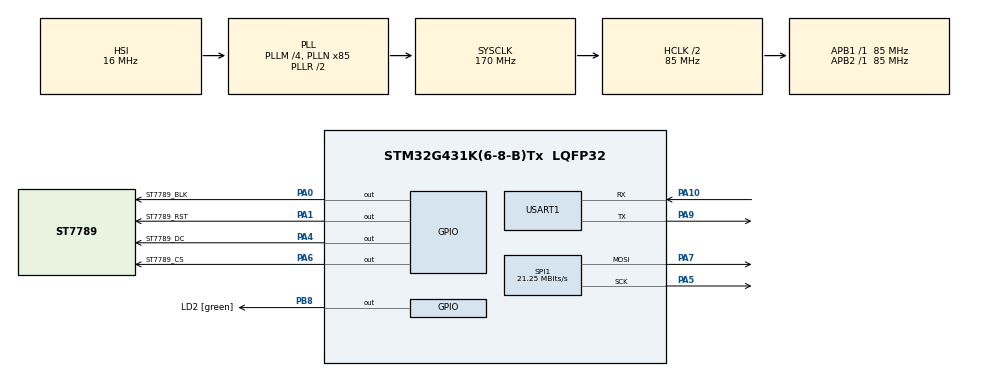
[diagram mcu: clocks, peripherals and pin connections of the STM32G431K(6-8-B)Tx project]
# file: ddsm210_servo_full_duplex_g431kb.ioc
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CRC.CRCLength=CRC_POLYLENGTH_8B
CRC.DefaultInitValueUse=DEFAULT_INIT_VALUE_DISABLE
CRC.DefaultPolynomialUse=DEFAULT_POLYNOMIAL_DISABLE
CRC.GeneratingPolynomial=X5+X4+X0
CRC.InputDataInversionMode=CRC_INPUTDATA_INVERSION_BYTE
CRC.OutputDataInversionMode=CRC_OUTPUTDATA_INVERSION_ENABLE
Dma.Request0=USART1_RX
Dma.Request1=USART1_TX
Dma.USART1_RX.0.Direction=DMA_PERIPH_TO_MEMORY
Dma.USART1_RX.0.EventEnable=DISABLE
Dma.USART1_RX.0.Instance=DMA1_Channel1
Dma.USART1_RX.0.MemDataAlignment=DMA_MDATAALIGN_BYTE
Dma.USART1_RX.0.MemInc=DMA_MINC_ENABLE
Dma.USART1_RX.0.Mode=DMA_NORMAL
Dma.USART1_RX.0.PeriphDataAlignment=DMA_PDATAALIGN_BYTE
Dma.USART1_RX.0.PeriphInc=DMA_PINC_DISABLE
Dma.USART1_RX.0.Polarity=HAL_DMAMUX_REQ_GEN_RISING
Dma.USART1_RX.0.Priority=DMA_PRIORITY_LOW
Dma.USART1_RX.0.RequestNumber=1
Dma.USART1_RX.0.SignalID=NONE
Dma.USART1_RX.0.SyncEnable=DISABLE
Dma.USART1_RX.0.SyncPolarity=HAL_DMAMUX_SYNC_NO_EVENT
Dma.USART1_RX.0.SyncRequestNumber=1
Dma.USART1_RX.0.SyncSignalID=NONE
Dma.USART1_TX.1.Direction=DMA_MEMORY_TO_PERIPH
Dma.USART1_TX.1.EventEnable=DISABLE
Dma.USART1_TX.1.Instance=DMA1_Channel2
Dma.USART1_TX.1.MemDataAlignment=DMA_MDATAALIGN_BYTE
Dma.USART1_TX.1.MemInc=DMA_MINC_ENABLE
Dma.USART1_TX.1.Mode=DMA_NORMAL
Dma.USART1_TX.1.PeriphDataAlignment=DMA_PDATAALIGN_BYTE
Dma.USART1_TX.1.PeriphInc=DMA_PINC_DISABLE
Dma.USART1_TX.1.Polarity=HAL_DMAMUX_REQ_GEN_RISING
Dma.USART1_TX.1.Priority=DMA_PRIORITY_LOW
Dma.USART1_TX.1.RequestNumber=1
Dma.USART1_TX.1.SignalID=NONE
Dma.USART1_TX.1.SyncEnable=DISABLE
Dma.USART1_TX.1.SyncPolarity=HAL_DMAMUX_SYNC_NO_EVENT
Dma.USART1_TX.1.SyncRequestNumber=1
Dma.USART1_TX.1.SyncSignalID=NONE
Mcu.Family=STM32G4
Mcu.Name=STM32G431K(6-8-B)Tx
Mcu.Package=LQFP32
NUCLEO-G431KB.Bsp_Common_DEMO=true
NUCLEO-G431KB.VCP=true
NVIC.DMA1_Channel1_IRQn=true\:0\:0\:false\:false\:true\:false\:true\:true
NVIC.DMA1_Channel2_IRQn=true\:0\:0\:false\:false\:true\:false\:true\:true
NVIC.PriorityGroup=NVIC_PRIORITYGROUP_4
NVIC.USART1_IRQn=true\:0\:0\:false\:false\:true\:true\:true\:true
PA0.GPIO_Label=ST7789_BLK
PA0.Signal=GPIO_Output
PA1.GPIO_Label=ST7789_RST
PA1.Signal=GPIO_Output
PA10.Mode=Asynchronous
PA10.Signal=USART1_RX
PA13.GPIO_Label=T_SWDIO
PA13.Signal=SYS_JTMS-SWDIO
PA14.GPIO_Label=T_SWCLK
PA14.Signal=SYS_JTCK-SWCLK
PA2.Signal=USART2_TX
PA3.Signal=USART2_RX
PA4.GPIO_Label=ST7789_DC
PA4.Signal=GPIO_Output
PA5.Mode=TX_Only_Simplex_Unidirect_Master
PA5.Signal=SPI1_SCK
PA6.GPIO_Label=ST7789_CS
PA6.Signal=GPIO_Output
PA7.Mode=TX_Only_Simplex_Unidirect_Master
PA7.Signal=SPI1_MOSI
PA9.Mode=Asynchronous
PA9.Signal=USART1_TX
PB3.GPIO_Label=T_SWO
PB3.Signal=SYS_JTDO-SWO
PB8-BOOT0.GPIO_Label=LD2 [green]
PB8-BOOT0.Signal=GPIO_Output
ProjectManager.HeapSize=0x200
ProjectManager.StackSize=0x400
ProjectManager.TargetToolchain=STM32CubeIDE
RCC.ADC12Freq_Value=170000000
RCC.AHBCLKDivider=RCC_SYSCLK_DIV2
RCC.AHBFreq_Value=85000000
RCC.APB1Freq_Value=85000000
RCC.APB1TimFreq_Value=85000000
RCC.APB2Freq_Value=85000000
RCC.APB2TimFreq_Value=85000000
RCC.CortexFreq_Value=85000000
RCC.EXTERNAL_CLOCK_VALUE=12288000
RCC.HCLKFreq_Value=85000000
RCC.HSE_VALUE=8000000
RCC.HSI48_VALUE=48000000
RCC.HSI_VALUE=16000000
RCC.LSE_VALUE=32768
RCC.PLLM=RCC_PLLM_DIV4
RCC.PLLN=85
RCC.SYSCLKFreq_VALUE=170000000
RCC.SYSCLKSource=RCC_SYSCLKSOURCE_PLLCLK
RCC.USBFreq_Value=170000000
RCC.VCOOutputFreq_Value=340000000
SPI1.BaudRatePrescaler=SPI_BAUDRATEPRESCALER_4
SPI1.CLKPhase=SPI_PHASE_2EDGE
SPI1.CLKPolarity=SPI_POLARITY_HIGH
SPI1.CalculateBaudRate=21.25 MBits/s
SPI1.DataSize=SPI_DATASIZE_8BIT
SPI1.Direction=SPI_DIRECTION_2LINES
SPI1.Mode=SPI_MODE_MASTER
SPI1.VirtualType=VM_MASTER
USART1.VirtualMode-Asynchronous=VM_ASYNC
VP_CRC_VS_CRC.Mode=CRC_Activate
VP_NUCLEO-G431KB_VS_BSP_COMMON.Mode=COMMON
VP_SYS_VS_DBSignals.Mode=DisableDeadBatterySignals
board=NUCLEO-G431KB

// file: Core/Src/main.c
/* USER CODE BEGIN Header */
/**
 ******************************************************************************
 * @file           : main.c
 * @brief          : Main program body
 ******************************************************************************
 * @attention
 *
 * Copyright (c) 2024 STMicroelectronics.
 * All rights reserved.
 *
 * This software is licensed under terms that can be found in the LICENSE file
 * in the root directory of this software component.
 * If no LICENSE file comes with this software, it is provided AS-IS.
 *
 ******************************************************************************
 */

//#define USE_LCD

/* USER CODE END Header */
#include "main.h"
#include "crc.h"
#include "dma.h"
#include "spi.h"
#include "usart.h"
#include "gpio.h"

/* USER CODE BEGIN Includes */
#include "ddsm210_servo.h"

#ifdef USE_LCD
#include "st7789.h"
#endif
/* USER CODE END Includes */

/* USER CODE BEGIN PD */
#define DRIVE_1 1
#define NUMBER_OF_DIFFERENT_MSGS 2
#define VELOCITY_REF -15.0f
#define ACCELERATION_TIME 10
/* USER CODE END PD */

COM_InitTypeDef BspCOMInit;

/* USER CODE BEGIN PV */
uint8_t rx_data[10];
uint8_t ddsm_data_received_flag = 0;
char lcd_line[32];
DDSM_ResponseTypeDef ddsm_response;
uint8_t msg_count = 0;
/* USER CODE END PV */

void SystemClock_Config(void);

int main(void)
{

  /* MCU Configuration--------------------------------------------------------*/

  /* Reset of all peripherals, Initializes the Flash interface and the Systick. */
  HAL_Init();

  /* Configure the system clock */
  SystemClock_Config();

  /* Initialize all configured peripherals */
  MX_GPIO_Init();
  MX_DMA_Init();
  MX_SPI1_Init();
  MX_USART1_UART_Init();
  MX_CRC_Init();
  /* USER CODE BEGIN 2 */

#ifdef USE_LCD
	ST7789_Init();
	ST7789_BLK_On();
	ST7789_Fill_Color(WHITE);
	ST7789_DrawImage(4 + 40, 99, 232, 42,
			(uint16_t*) image_data_ufnalski_edu_pl_gta);
	ST7789_WriteString(55, 15, "DDSM210 Direct Drive", Font_11x18, BLUE, WHITE);
	ST7789_WriteString(15, 40, "Servo Motor from Waveshare", Font_11x18, BLUE,
	WHITE);
	ST7789_WriteString(120, 75, "demo by", Font_11x18, BLUE, WHITE);
#endif

  /* USER CODE END 2 */

  /* Initialize COM1 port (115200, 8 bits (7-bit data + 1 stop bit), no parity */
  BspCOMInit.BaudRate   = 115200;
  BspCOMInit.WordLength = COM_WORDLENGTH_8B;
  BspCOMInit.StopBits   = COM_STOPBITS_1;
  BspCOMInit.Parity     = COM_PARITY_NONE;
  BspCOMInit.HwFlowCtl  = COM_HWCONTROL_NONE;
  if (BSP_COM_Init(COM1, &BspCOMInit) != BSP_ERROR_NONE)
  {
    Error_Handler();
  }

  /* USER CODE BEGIN BSP */

	/* -- Sample board code to send message over COM1 port ---- */
	printf("Welcome to direct drive world!\r\n\r\n");

  /* USER CODE END BSP */

  /* Infinite loop */
  /* USER CODE BEGIN WHILE */

	DDSM_SetVelocity(DRIVE_1, VELOCITY_REF, ACCELERATION_TIME, DDSM_BRAKE_OFF);
	HAL_UART_Receive_DMA(&huart1, rx_data, DDSM_MSG_LENGTH);
	while (1)
	{

		if (ddsm_data_received_flag == 1)
		{
			ddsm_data_received_flag = 0;
			DDSM_MessageDecode(DRIVE_1, rx_data, &ddsm_response);

#ifdef USE_LCD
			sprintf(lcd_line, "Velocity:    %.1f rpm    ",
					ddsm_response.velocity);
			ST7789_WriteString(15, 155, lcd_line, Font_11x18, BLUE,
			WHITE);
#else
			printf("Velocity:    %.1f rpm\r\n", ddsm_response.velocity);
#endif
#ifdef USE_LCD
			sprintf(lcd_line, "Position:    %.0f deg    ",
					ddsm_response.position);
			ST7789_WriteString(15, 175, lcd_line, Font_11x18, BLUE,
			WHITE);
#else
			printf("Position:    %.0f deg\r\n", ddsm_response.position);
#endif
#ifdef USE_LCD
			sprintf(lcd_line, "Mileage:     %li laps    ",
					ddsm_response.mileage);
			ST7789_WriteString(15, 195, lcd_line, Font_11x18, BLUE,
			WHITE);
#else
			printf("Mileage:     %li laps\r\n", ddsm_response.mileage);
#endif
#ifdef USE_LCD
			sprintf(lcd_line, "Temperature: %d deg. C    ",
					ddsm_response.temperature);
			ST7789_WriteString(15, 215, lcd_line, Font_11x18, BLUE,
			WHITE);
#else
			printf("Temperature: %d deg. C\r\n\r\n", ddsm_response.temperature);
			HAL_Delay(200);
#endif

			msg_count = (msg_count + 1) % NUMBER_OF_DIFFERENT_MSGS;
			switch (msg_count)
			{
			case 0:
				DDSM_SetVelocity(DRIVE_1, VELOCITY_REF, ACCELERATION_TIME,
						DDSM_BRAKE_OFF);
				break;
			case 1:
				DDSM_AskForMileage(DRIVE_1);
				break;
			default:
				__NOP();
			}
			HAL_UART_Receive_DMA(&huart1, rx_data, DDSM_MSG_LENGTH);
		}

    /* USER CODE END WHILE */

	}
}

void SystemClock_Config(void)
{
  RCC_OscInitTypeDef RCC_OscInitStruct = {0};
  RCC_ClkInitTypeDef RCC_ClkInitStruct = {0};

  /** Configure the main internal regulator output voltage
  */
  HAL_PWREx_ControlVoltageScaling(PWR_REGULATOR_VOLTAGE_SCALE1);

  /** Initializes the RCC Oscillators according to the specified parameters
  * in the RCC_OscInitTypeDef structure.
  */
  RCC_OscInitStruct.OscillatorType = RCC_OSCILLATORTYPE_HSI;
  RCC_OscInitStruct.HSIState = RCC_HSI_ON;
  RCC_OscInitStruct.HSICalibrationValue = RCC_HSICALIBRATION_DEFAULT;
  RCC_OscInitStruct.PLL.PLLState = RCC_PLL_ON;
  RCC_OscInitStruct.PLL.PLLSource = RCC_PLLSOURCE_HSI;
  RCC_OscInitStruct.PLL.PLLM = RCC_PLLM_DIV4;
  RCC_OscInitStruct.PLL.PLLN = 85;
  RCC_OscInitStruct.PLL.PLLP = RCC_PLLP_DIV2;
  RCC_OscInitStruct.PLL.PLLQ = RCC_PLLQ_DIV2;
  RCC_OscInitStruct.PLL.PLLR = RCC_PLLR_DIV2;
  if (HAL_RCC_OscConfig(&RCC_OscInitStruct) != HAL_OK)
  {
    Error_Handler();
  }

  /** Initializes the CPU, AHB and APB buses clocks
  */
  RCC_ClkInitStruct.ClockType = RCC_CLOCKTYPE_HCLK|RCC_CLOCKTYPE_SYSCLK
                              |RCC_CLOCKTYPE_PCLK1|RCC_CLOCKTYPE_PCLK2;
  RCC_ClkInitStruct.SYSCLKSource = RCC_SYSCLKSOURCE_PLLCLK;
  RCC_ClkInitStruct.AHBCLKDivider = RCC_SYSCLK_DIV2;
  RCC_ClkInitStruct.APB1CLKDivider = RCC_HCLK_DIV1;
  RCC_ClkInitStruct.APB2CLKDivider = RCC_HCLK_DIV1;

  if (HAL_RCC_ClockConfig(&RCC_ClkInitStruct, FLASH_LATENCY_2) != HAL_OK)
  {
    Error_Handler();
  }
}

/* USER CODE BEGIN 4 */
void HAL_UART_RxCpltCallback(UART_HandleTypeDef *huart)
{
	if (huart->Instance == USART1)
	{
		if (DDSM_CheckCRC(rx_data) == DDSM_CRC_OK)
		{
			ddsm_data_received_flag = 1;
		}
		else
		{
			HAL_UART_Receive_DMA(&huart1, rx_data, DDSM_MSG_LENGTH);
		}
	}
}
/* USER CODE END 4 */

/* USER CODE BEGIN Header */
/**
 ******************************************************************************
 * @file           : main.c
 * @brief          : Main program body
 ******************************************************************************
 * @attention
 *
 * Copyright (c) 2024 STMicroelectronics.
 * All rights reserved.
 *
 * This software is licensed under terms that can be found in the LICENSE file
 * in the root directory of this software component.
 * If no LICENSE file comes with this software, it is provided AS-IS.
 *
 ******************************************************************************
 */

//#define USE_LCD

/* USER CODE END Header */

void Error_Handler(void)
{
	__disable_irq();
	while (1)
	{
	}
}
